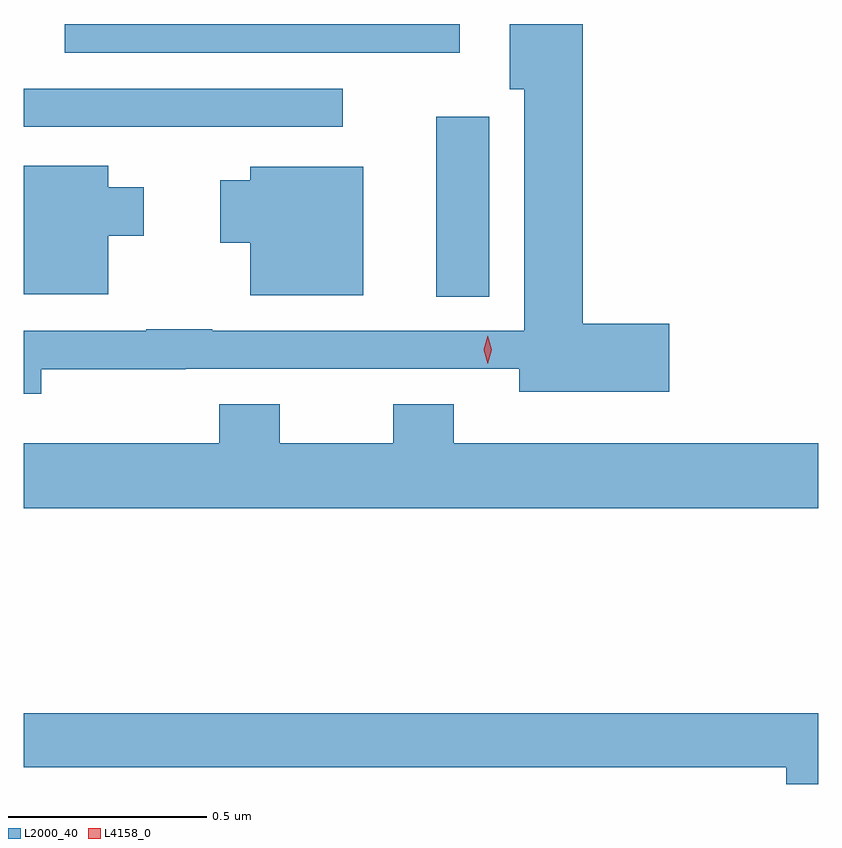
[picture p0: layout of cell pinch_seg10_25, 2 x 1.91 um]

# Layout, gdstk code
import gdstk
lib = gdstk.Library(unit=1e-6, precision=1e-09)
def R(c, l, rs):  # rectangles x0, y0, x1, y1
    for r in rs: c.add(gdstk.rectangle(r[:2], r[2:], *l))
def P(c, l, *ps):  # polygons
    for p in ps: c.add(gdstk.Polygon(p, *l))
L2000_40 = (2000, 40)
L4158_0 = (4158, 0)

pinch_seg10_25 = lib.new_cell('pinch_seg10_25')
R(pinch_seg10_25, L2000_40, [(946.568,1274.209,946.702,1274.662), (945.53,1274.637,946.333,1274.733), (945.633,1274.823,946.627,1274.896)])
P(pinch_seg10_25, L2000_40, [(945.573,1274.027),(945.938,1274.027),(945.938,1274.028),(946.778,1274.028),(946.778,1273.97),(947.155,1273.97),(947.155,1274.141),(946.937,1274.141),(946.937,1274.896),(946.754,1274.896),(946.754,1274.732),(946.79,1274.732),(946.79,1274.124),(946.004,1274.124),(946.004,1274.127),(945.838,1274.127),(945.838,1274.124),(945.53,1274.124),(945.53,1273.965),(945.573,1273.965)],
  [(945.742,1274.363),(945.832,1274.363),(945.832,1274.485),(945.742,1274.485),(945.742,1274.539),(945.53,1274.539),(945.53,1274.216),(945.742,1274.216)],
  [(946.384,1274.536),(946.1,1274.536),(946.1,1274.503),(946.025,1274.503),(946.025,1274.345),(946.1,1274.345),(946.1,1274.213),(946.384,1274.213)],
  [(947.53,1273.84),(946.613,1273.84),(946.613,1273.939),(946.46,1273.939),(946.46,1273.84),(946.174,1273.84),(946.174,1273.939),(946.022,1273.939),(946.022,1273.84),(945.53,1273.84),(945.53,1273.676),(947.53,1273.676)],
  [(947.53,1273.16),(945.53,1273.16),(945.53,1273.024),(947.45,1273.024),(947.45,1272.982),(947.53,1272.982)])
P(pinch_seg10_25, L4158_0, [(946.698,1274.04),(946.698,1274.04),(946.688,1274.076),(946.698,1274.111),(946.698,1274.111),(946.698,1274.111),(946.708,1274.076),(946.698,1274.04)])

lib.write_gds('pinch_seg10_25.gds')
